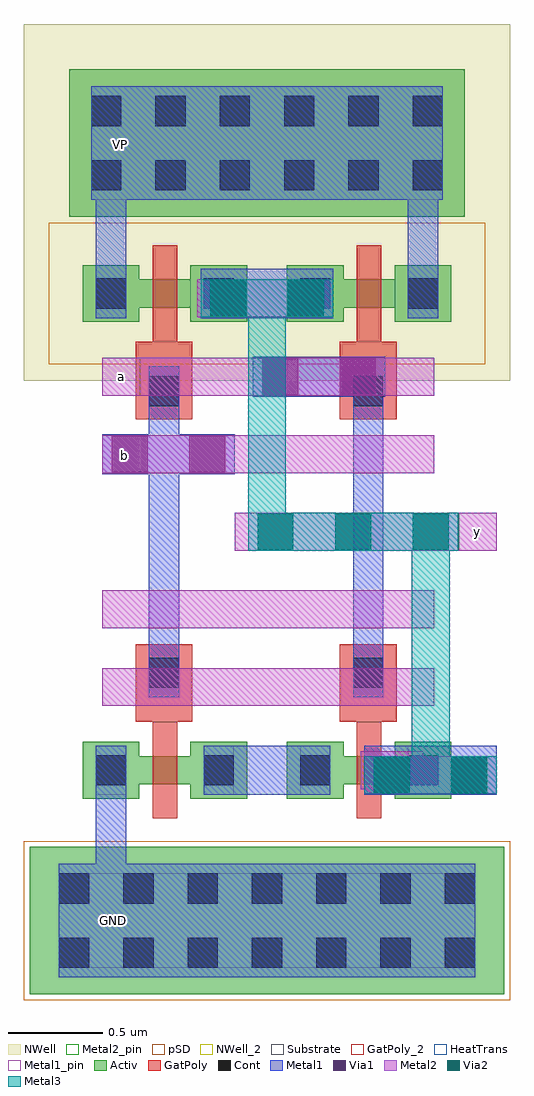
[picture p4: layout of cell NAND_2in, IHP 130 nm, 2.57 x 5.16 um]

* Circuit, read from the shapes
.subckt NAND_2in GND VP a b y
XM1 n1 b GND GND sg13_lv_nmos w=0.15u l=0.13u
XM2 y a n1 GND sg13_lv_nmos w=0.15u l=0.13u
XM3 y b VP VP sg13_lv_pmos w=0.15u l=0.13u
XM4 VP a y VP sg13_lv_pmos w=0.15u l=0.13u
.ends

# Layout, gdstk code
from math import pi, radians
import gdstk
lib = gdstk.Library(unit=1e-6, precision=1e-09)
def R(c, l, rs):  # rectangles x0, y0, x1, y1
    for r in rs: c.add(gdstk.rectangle(r[:2], r[2:], *l))
def A(c, l, x, y, w, h, nx, ny, dx, dy):  # array of equal rectangles
    R(c, l, [(x+i*dx, y+j*dy, x+i*dx+w, y+j*dy+h) for i in range(nx) for j in range(ny)])
Activ = (1, 0)
GatPoly = (5, 0)
GatPoly_2 = (5, 2)
Cont = (6, 0)
Metal1 = (8, 0)
Metal1_pin = (8, 2)
Metal2 = (10, 0)
Metal2_pin = (10, 2)
pSD = (14, 0)
Via1 = (19, 0)
Via2 = (29, 0)
Metal3 = (30, 0)
NWell = (31, 0)
NWell_2 = (31, 2)
Substrate = (40, 0)
HeatTrans = (51, 0)

via_4_4 = lib.new_cell('Via$4$4')
R(via_4_4, Metal2, [(-0.1,-0.35,0.1,0.35)])
R(via_4_4, Via2, [(-0.095,-0.3,0.095,-0.11), (-0.095,0.11,0.095,0.3)])
R(via_4_4, Metal3, [(-0.1,-0.35,0.1,0.35)])

via_2_4 = lib.new_cell('Via$2$4')
R(via_2_4, Metal1, [(-0.105,-0.35,0.105,0.35)])
R(via_2_4, Metal2, [(-0.1,-0.35,0.1,0.35)])
R(via_2_4, Via1, [(-0.095,-0.3,0.095,-0.11), (-0.095,0.11,0.095,0.3)])

ntap1_4 = lib.new_cell('ntap1$4')
R(ntap1_4, Activ, [(0,0,2.09,0.78)])
A(ntap1_4, Cont, 0.115, 0.14, 0.16, 0.16, 6, 2, 0.34, 0.34)
R(ntap1_4, Metal1, [(0.115,0.09,1.975,0.69)])
R(ntap1_4, Metal1_pin, [(0.115,0.09,1.975,0.69), (0.115,0.14,1.975,0.64)])
R(ntap1_4, NWell, [(-0.24,-0.24,2.33,1.02), (0,0,2.09,0.78)])
R(ntap1_4, NWell_2, [(0,0,2.09,0.78)])
ntap1_4.add(gdstk.Label('well', (1.045,0.01), layer=63, texttype=0))
ntap1_4.add(gdstk.Label('well', (1.045,0.01), layer=31, texttype=0))

ptap1_5 = lib.new_cell('ptap1$5')
R(ptap1_5, Activ, [(0,0,2.51,0.78)])
A(ptap1_5, Cont, 0.155, 0.14, 0.16, 0.16, 7, 2, 0.34, 0.34)
R(ptap1_5, Metal1, [(0.155,0.09,2.355,0.69), (0.155,0.14,2.355,0.64)])
R(ptap1_5, Metal1_pin, [(0.155,0.14,2.355,0.64)])
R(ptap1_5, pSD, [(-0.03,-0.03,2.54,0.81)])
R(ptap1_5, Substrate, [(0,0,2.51,0.78)])
ptap1_5.add(gdstk.Label('sub!', (1.255,0.01), layer=63, texttype=0))
ptap1_5.add(gdstk.Label('sub!', (1.255,0.01), layer=40, texttype=0))

nmos_4 = lib.new_cell('nmos$4')
R(nmos_4, Activ, [(0,0,0.3,0.3), (0.57,0,0.87,0.3), (0,0.075,0.87,0.225)])
R(nmos_4, GatPoly, [(0.37,-0.105,0.5,0.405)])
R(nmos_4, GatPoly_2, [(0.37,-0.105,0.5,0.405)])
R(nmos_4, Cont, [(0.07,0.07,0.23,0.23), (0.64,0.07,0.8,0.23)])
R(nmos_4, Metal1, [(0.07,0.02,0.23,0.28), (0.64,0.02,0.8,0.28)])
R(nmos_4, Metal1_pin, [(0.07,0.02,0.23,0.28), (0.64,0.02,0.8,0.28)])
R(nmos_4, HeatTrans, [(0.37,-0.105,0.5,0.405)])
nmos_4.add(gdstk.Label('nmos', (0.435,0.15), layer=63, texttype=0))
nmos_4.add(gdstk.Label('nmos', (0.435,0.15), layer=51, texttype=0))

pmos_4 = lib.new_cell('pmos$4')
R(pmos_4, Activ, [(0,0,0.3,0.3), (0.57,0,0.87,0.3), (0,0.075,0.87,0.225)])
R(pmos_4, GatPoly, [(0.37,-0.105,0.5,0.405), (0.37,-0.105,0.5,0.405)])
R(pmos_4, Cont, [(0.07,0.07,0.23,0.23), (0.64,0.07,0.8,0.23)])
R(pmos_4, Metal1, [(0.07,0.02,0.23,0.28), (0.07,0.02,0.23,0.28), (0.64,0.02,0.8,0.28), (0.64,0.02,0.8,0.28)])
R(pmos_4, pSD, [(-0.18,-0.225,1.05,0.525)])
R(pmos_4, NWell, [(-0.31,-0.31,1.18,0.61)])
R(pmos_4, Substrate, [(0.57,0,0.87,0.3)])
R(pmos_4, HeatTrans, [(0.37,-0.105,0.5,0.405)])
pmos_4.add(gdstk.Label('pmos', (0.435,0.15), layer=63, texttype=0))
pmos_4.add(gdstk.Label('pmos', (0.435,0.15), layer=51, texttype=0))

via_17 = lib.new_cell('Via$17')
R(via_17, GatPoly, [(-0.15,-0.15,0.15,0.15)])
R(via_17, Cont, [(-0.08,-0.08,0.08,0.08)])
R(via_17, Metal1, [(-0.13,-0.08,0.13,0.08)])

via_7_2 = lib.new_cell('Via$7$2')
R(via_7_2, Metal2, [(-0.555,-0.1,0.555,0.1)])
A(via_7_2, Via2, -0.505, -0.095, 0.19, 0.19, 3, 1, 0.41, 0)
R(via_7_2, Metal3, [(-0.555,-0.1,0.555,0.1)])

via_6_3 = lib.new_cell('Via$6$3')
R(via_6_3, Metal1, [(-0.35,-0.105,0.35,0.105)])
R(via_6_3, Metal2, [(-0.35,-0.1,0.35,0.1)])
R(via_6_3, Via1, [(-0.3,-0.095,-0.11,0.095), (0.11,-0.095,0.3,0.095)])

nand_2in = lib.new_cell('NAND_2in')
R(nand_2in, GatPoly, [(9.375,7.165,9.675,7.275), (10.455,7.165,10.755,7.275), (9.375,9.065,9.675,9.175), (10.455,9.065,10.755,9.175)])
R(nand_2in, Metal1, [(9.735,6.78,10.405,7.04), (10.585,6.78,11.285,7.04), (9.72,9.3,10.42,9.56)])
R(nand_2in, Metal1_pin, [(9.16,6.015,9.36,6.215), (9.325,10.12,9.525,10.32)])
R(nand_2in, Metal2_pin, [(11.085,8.07,11.285,8.27), (9.2,8.48,9.4,8.68), (9.2,8.89,9.4,9.09)])
nand_2in.add(gdstk.FlexPath([(9.245,9.56),(9.245,10.525)], 0.16, ends="flush", simple_path=True, layer=8, datatype=0))  # Metal1
nand_2in.add(gdstk.FlexPath([(10.895,9.56),(10.895,10.525)], 0.16, ends="flush", simple_path=True, layer=8, datatype=0))  # Metal1
nand_2in.add(gdstk.FlexPath([(9.245,6.78),(9.245,6.415)], 0.16, ends="flush", simple_path=True, layer=8, datatype=0))  # Metal1
nand_2in.add(gdstk.FlexPath([(9.525,7.555),(9.525,8.785)], 0.16, ends="flush", simple_path=True, layer=8, datatype=0))  # Metal1
nand_2in.add(gdstk.FlexPath([(10.605,7.555),(10.605,8.785)], 0.16, ends="flush", simple_path=True, layer=8, datatype=0))  # Metal1
nand_2in.add(gdstk.FlexPath([(9.9,8.17),(11.285,8.17)], 0.2, ends="flush", simple_path=True, layer=10, datatype=0))  # Metal2
nand_2in.add(gdstk.FlexPath([(10.895,6.91),(10.565,6.91)], 0.2, ends="flush", simple_path=True, layer=10, datatype=0))  # Metal2
nand_2in.add(gdstk.FlexPath([(9.865,9.405),(9.7,9.405)], 0.2, ends="flush", simple_path=True, layer=10, datatype=0))  # Metal2
nand_2in.add(gdstk.FlexPath([(10.43,8.58),(10.43,8.58)], 0.2, ends="flush", simple_path=True, layer=10, datatype=0))  # Metal2
nand_2in.add(gdstk.FlexPath([(9.2,8.99),(10.955,8.99)], 0.2, ends="flush", simple_path=True, layer=10, datatype=0))  # Metal2
nand_2in.add(gdstk.FlexPath([(9.2,8.58),(10.955,8.58)], 0.2, ends="flush", simple_path=True, layer=10, datatype=0))  # Metal2
nand_2in.add(gdstk.FlexPath([(9.2,7.76),(10.955,7.76)], 0.2, ends="flush", simple_path=True, layer=10, datatype=0))  # Metal2
nand_2in.add(gdstk.FlexPath([(9.2,7.35),(10.955,7.35)], 0.2, ends="flush", simple_path=True, layer=10, datatype=0))  # Metal2
nand_2in.add(gdstk.FlexPath([(10.07,9.305),(10.07,8.07)], 0.2, ends="flush", simple_path=True, layer=30, datatype=0))  # Metal3
nand_2in.add(gdstk.FlexPath([(10.935,6.885),(10.935,8.07)], 0.2, ends="flush", simple_path=True, layer=30, datatype=0))  # Metal3
nand_2in.add(gdstk.Reference(via_4_4, (10.935,6.885), rotation=3*pi/2))
nand_2in.add(gdstk.Reference(via_2_4, (10.935,6.885), rotation=3*pi/2))
nand_2in.add(gdstk.Reference(ntap1_4, (9.025,9.835)))
nand_2in.add(gdstk.Reference(ptap1_5, (8.815,5.725)))
nand_2in.add(gdstk.Reference(nmos_4, (10.175,6.76)))
nand_2in.add(gdstk.Reference(pmos_4, (10.175,9.28)))
nand_2in.add(gdstk.Reference(nmos_4, (9.095,6.76)))
nand_2in.add(gdstk.Reference(pmos_4, (9.095,9.28)))
nand_2in.add(gdstk.Reference(via_17, (9.525,8.915), rotation=pi/2))
nand_2in.add(gdstk.Reference(via_17, (10.605,8.915), rotation=pi/2))
nand_2in.add(gdstk.Reference(via_17, (10.605,7.425), rotation=3*pi/2))
nand_2in.add(gdstk.Reference(via_17, (9.525,7.425), rotation=3*pi/2))
nand_2in.add(gdstk.Reference(via_2_4, (9.55,8.58), rotation=3*pi/2))
nand_2in.add(gdstk.Reference(via_7_2, (10.525,8.17)))
nand_2in.add(gdstk.Reference(via_2_4, (10.07,9.405), rotation=3*pi/2))
nand_2in.add(gdstk.Reference(via_4_4, (10.07,9.405), rotation=3*pi/2))
nand_2in.add(gdstk.Reference(via_6_3, (10.345,8.99)))
nand_2in.add(gdstk.Label('y', (11.185,8.17), layer=10, texttype=25))
nand_2in.add(gdstk.Label('b', (9.315,8.575), layer=10, texttype=25))
nand_2in.add(gdstk.Label('a', (9.3,8.99), layer=10, texttype=25))
nand_2in.add(gdstk.Label('VP', (9.295,10.22), layer=8, texttype=25))
nand_2in.add(gdstk.Label('GND', (9.26,6.115), layer=8, texttype=25))

lib.write_gds('NAND_2in.gds')
